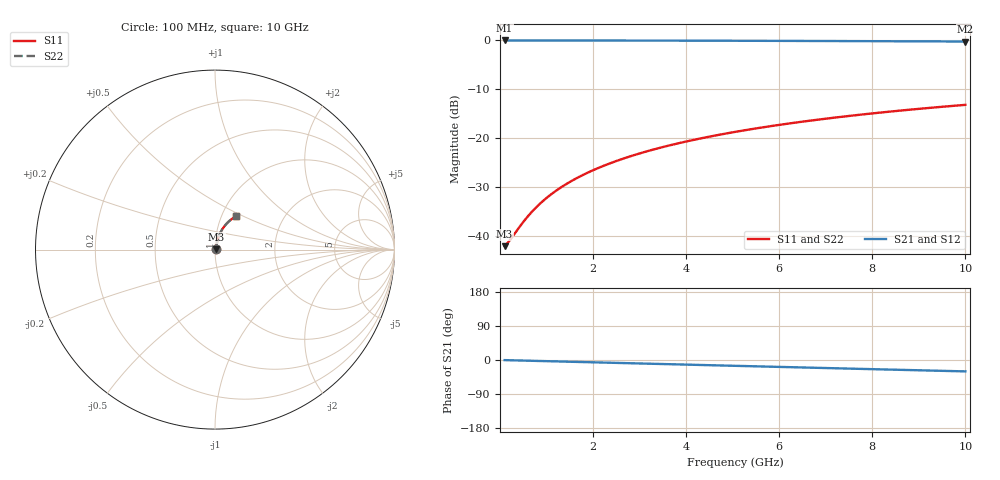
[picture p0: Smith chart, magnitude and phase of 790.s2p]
# Hz S RI R 50.00
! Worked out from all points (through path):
!   100 points, 100 MHz to 10 GHz, reference 50 ohm
!   highest |S21| = -0.07 dB at 100 MHz (marker M1); lowest = -0.3 dB at 10 GHz (marker M2)
!   group delay of S21, straight-line fit = 8.36 ps
!   lowest |S11| = -42.1 dB at 100 MHz (marker M3), VSWR 1.02, Z = 50.8 + j0.232 ohm
!   |S11| at or under -10 dB: start of sweep to end of sweep
!   |S22| runs from -42.1 to -13.2 dB; largest |S21 - S12| = 0
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1e8  0.00755 0.00228  0.9924 -0.00528  0.9924 -0.00528  0.00755 0.00228
2e8  0.00763 0.00456  0.9923 -0.0106  0.9923 -0.0106  0.00763 0.00456
4e8  0.00784 0.00912  0.9921 -0.0211  0.9921 -0.0211  0.00784 0.00912
5e8  0.00798 0.0114  0.9919 -0.0264  0.9919 -0.0264  0.00798 0.0114
6e8  0.00813 0.0137  0.9917 -0.0317  0.9917 -0.0317  0.00813 0.0137
7e8  0.00831 0.016  0.9914 -0.0369  0.9914 -0.0369  0.00831 0.016
9e8  0.00873 0.0205  0.9909 -0.0475  0.9909 -0.0475  0.00873 0.0205
1.1e9  0.00925 0.025  0.9902 -0.058  0.9902 -0.058  0.00925 0.025
1.3e9  0.00985 0.0295  0.9893 -0.0685  0.9893 -0.0685  0.00985 0.0295
1.5e9  0.0106 0.034  0.9884 -0.079  0.9884 -0.079  0.0106 0.034
1.8e9  0.0118 0.0408  0.9867 -0.0948  0.9867 -0.0948  0.0118 0.0408
2.1e9  0.0132 0.0474  0.9847 -0.1104  0.9847 -0.1104  0.0132 0.0474
2.5e9  0.0155 0.0563  0.9816 -0.1313  0.9816 -0.1313  0.0155 0.0563
2.9e9  0.0181 0.065  0.978 -0.152  0.978 -0.152  0.0181 0.065
3.4e9  0.0219 0.0757  0.9728 -0.1777  0.9728 -0.1777  0.0219 0.0757
4.2e9  0.029 0.0923  0.9628 -0.2183  0.9628 -0.2183  0.029 0.0923
5.1e9  0.0387 0.1101  0.9493 -0.2632  0.9493 -0.2632  0.0387 0.1101
5.9e9  0.0487 0.1251  0.9353 -0.3021  0.9353 -0.3021  0.0487 0.1251
6.7e9  0.0598 0.1391  0.9195 -0.3401  0.9195 -0.3401  0.0598 0.1391
7.5e9  0.0721 0.1521  0.902 -0.3771  0.902 -0.3771  0.0721 0.1521
8.4e9  0.087 0.1653  0.8804 -0.4173  0.8804 -0.4173  0.087 0.1653
1e10  0.116 0.1851  0.8375 -0.4849  0.8375 -0.4849  0.116 0.1851
